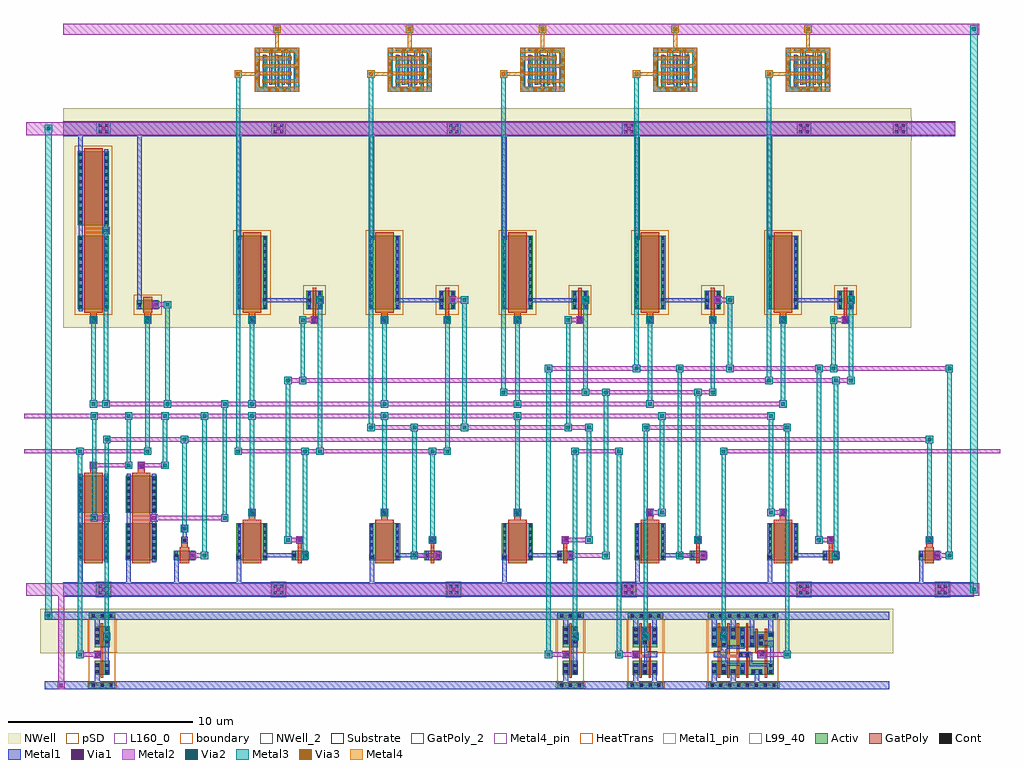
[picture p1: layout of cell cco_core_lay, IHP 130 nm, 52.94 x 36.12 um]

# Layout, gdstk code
import gdstk
lib = gdstk.Library(unit=1e-6, precision=1e-09)
def R(c, l, rs):  # rectangles x0, y0, x1, y1
    for r in rs: c.add(gdstk.rectangle(r[:2], r[2:], *l))
def A(c, l, x, y, w, h, nx, ny, dx, dy):  # array of equal rectangles
    R(c, l, [(x+i*dx, y+j*dy, x+i*dx+w, y+j*dy+h) for i in range(nx) for j in range(ny)])
def P(c, l, *ps):  # polygons
    for p in ps: c.add(gdstk.Polygon(p, *l))
Activ = (1, 0)
GatPoly = (5, 0)
GatPoly_2 = (5, 2)
Cont = (6, 0)
Metal1 = (8, 0)
Metal1_pin = (8, 2)
Metal2 = (10, 0)
pSD = (14, 0)
Via1 = (19, 0)
Via2 = (29, 0)
Metal3 = (30, 0)
NWell = (31, 0)
NWell_2 = (31, 2)
Substrate = (40, 0)
Via3 = (49, 0)
Metal4 = (50, 0)
Metal4_pin = (50, 2)
HeatTrans = (51, 0)
L99_40 = (99, 40)
L160_0 = (160, 0)
boundary = (189, 4)

nmos_5 = lib.new_cell('nmos$5')
R(nmos_5, Activ, [(0,0,0.3,0.3), (0,0,1.68,2), (1.38,0,1.68,0.3)])
R(nmos_5, GatPoly, [(0.34,-0.18,1.34,2.18)])
R(nmos_5, GatPoly_2, [(0.34,-0.18,1.34,2.18)])
A(nmos_5, Cont, 0.07, 0.07, 0.16, 0.16, 1, 6, 0, 0.34)
A(nmos_5, Cont, 1.45, 0.07, 0.16, 0.16, 1, 6, 0, 0.34)
R(nmos_5, Metal1, [(0.07,0,0.23,2), (1.45,0,1.61,2)])
R(nmos_5, Metal1_pin, [(0.07,0,0.23,2), (1.45,0,1.61,2)])
R(nmos_5, HeatTrans, [(0.34,-0.18,1.34,2.18)])
nmos_5.add(gdstk.Label('nmos', (0.84,1), layer=63, texttype=0))
nmos_5.add(gdstk.Label('nmos', (0.84,1), layer=51, texttype=0))

nmos_6 = lib.new_cell('nmos$6')
R(nmos_6, Activ, [(0,0,0.3,0.3), (0,0,1.18,0.5), (0.88,0,1.18,0.3)])
R(nmos_6, GatPoly, [(0.34,-0.18,0.84,0.68)])
R(nmos_6, GatPoly_2, [(0.34,-0.18,0.84,0.68)])
R(nmos_6, Cont, [(0.07,0.17,0.23,0.33), (0.95,0.17,1.11,0.33)])
R(nmos_6, Metal1, [(0.07,0,0.23,0.5), (0.95,0,1.11,0.5)])
R(nmos_6, Metal1_pin, [(0.07,0,0.23,0.5), (0.95,0,1.11,0.5)])
R(nmos_6, HeatTrans, [(0.34,-0.18,0.84,0.68)])
nmos_6.add(gdstk.Label('nmos', (0.59,0.25), layer=63, texttype=0))
nmos_6.add(gdstk.Label('nmos', (0.59,0.25), layer=51, texttype=0))

pmos_8 = lib.new_cell('pmos$8')
R(pmos_8, Activ, [(0,0,0.3,0.3), (0,0,1.68,4), (1.38,0,1.68,0.3)])
R(pmos_8, GatPoly, [(0.34,-0.18,1.34,4.18), (0.34,-0.18,1.34,4.18)])
A(pmos_8, Cont, 0.07, 0.07, 0.16, 0.16, 1, 11, 0, 0.37)
A(pmos_8, Cont, 1.45, 0.07, 0.16, 0.16, 1, 11, 0, 0.37)
R(pmos_8, Metal1, [(0.07,0,0.23,4), (0.07,0,0.23,4), (1.45,0,1.61,4), (1.45,0,1.61,4)])
R(pmos_8, pSD, [(-0.18,-0.3,1.86,4.3)])
R(pmos_8, NWell, [(-0.31,-0.31,1.99,4.31)])
R(pmos_8, HeatTrans, [(0.34,-0.18,1.34,4.18)])
pmos_8.add(gdstk.Label('pmos', (0.84,2), layer=63, texttype=0))
pmos_8.add(gdstk.Label('pmos', (0.84,2), layer=51, texttype=0))

pmos_2 = lib.new_cell('pmos$2')
R(pmos_2, Activ, [(0,0,0.3,0.3), (0,0,1.18,0.5), (0.88,0,1.18,0.3)])
R(pmos_2, GatPoly, [(0.34,-0.18,0.84,0.68), (0.34,-0.18,0.84,0.68)])
R(pmos_2, Cont, [(0.07,0.17,0.23,0.33), (0.95,0.17,1.11,0.33)])
R(pmos_2, Metal1, [(0.07,0,0.23,0.5), (0.07,0,0.23,0.5), (0.95,0,1.11,0.5), (0.95,0,1.11,0.5)])
R(pmos_2, pSD, [(-0.18,-0.3,1.36,0.8)])
R(pmos_2, NWell, [(-0.31,-0.31,1.49,0.81)])
R(pmos_2, HeatTrans, [(0.34,-0.18,0.84,0.68)])
pmos_2.add(gdstk.Label('pmos', (0.59,0.25), layer=63, texttype=0))
pmos_2.add(gdstk.Label('pmos', (0.59,0.25), layer=51, texttype=0))

nmos_7 = lib.new_cell('nmos$7')
R(nmos_7, Activ, [(0,0,0.3,0.3), (0,0,0.88,0.5), (0.58,0,0.88,0.3)])
R(nmos_7, GatPoly, [(0.34,-0.18,0.54,0.68)])
R(nmos_7, GatPoly_2, [(0.34,-0.18,0.54,0.68)])
R(nmos_7, Cont, [(0.07,0.17,0.23,0.33), (0.65,0.17,0.81,0.33)])
R(nmos_7, Metal1, [(0.07,0,0.23,0.5), (0.65,0,0.81,0.5)])
R(nmos_7, Metal1_pin, [(0.07,0,0.23,0.5), (0.65,0,0.81,0.5)])
R(nmos_7, HeatTrans, [(0.34,-0.18,0.54,0.68)])
nmos_7.add(gdstk.Label('nmos', (0.44,0.25), layer=63, texttype=0))
nmos_7.add(gdstk.Label('nmos', (0.44,0.25), layer=51, texttype=0))

pmos_5 = lib.new_cell('pmos$5')
R(pmos_5, Activ, [(0,0,0.3,0.3), (0,0,0.88,1), (0.58,0,0.88,0.3)])
R(pmos_5, GatPoly, [(0.34,-0.18,0.54,1.18), (0.34,-0.18,0.54,1.18)])
A(pmos_5, Cont, 0.07, 0.07, 0.16, 0.16, 1, 3, 0, 0.35)
A(pmos_5, Cont, 0.65, 0.07, 0.16, 0.16, 1, 3, 0, 0.35)
R(pmos_5, Metal1, [(0.07,0,0.23,1), (0.07,0,0.23,1), (0.65,0,0.81,1), (0.65,0,0.81,1)])
R(pmos_5, pSD, [(-0.18,-0.3,1.06,1.3)])
R(pmos_5, NWell, [(-0.31,-0.31,1.19,1.31)])
R(pmos_5, HeatTrans, [(0.34,-0.18,0.54,1.18)])
pmos_5.add(gdstk.Label('pmos', (0.44,0.5), layer=63, texttype=0))
pmos_5.add(gdstk.Label('pmos', (0.44,0.5), layer=51, texttype=0))

cap_cmomf = lib.new_cell('cap_cmomf')
A(cap_cmomf, Metal1, 0.44, 0, 0.16, 2.01, 3, 1, 0.68, 0)
R(cap_cmomf, Metal1, [(0,0,0.26,2.4), (0,0,1.96,0.21), (2.14,0,2.4,2.4), (0.78,0.39,0.94,2.4), (1.46,0.39,1.62,2.4), (0.44,2.19,2.4,2.4)])
R(cap_cmomf, Metal2, [(0,0,2.4,0.275), (0,0,0.205,1.915), (0.42,0.485,2.4,0.685), (2.195,0.485,2.4,2.4), (0,0.895,1.98,1.095), (0.42,1.305,2.4,1.505), (0,1.715,1.98,1.915), (0,2.125,2.4,2.4)])
A(cap_cmomf, Via1, 0.695, 0.01, 0.19, 0.19, 3, 1, 0.41, 0)
A(cap_cmomf, Via1, 0.01, 0.595, 0.19, 0.19, 1, 3, 0, 0.41)
A(cap_cmomf, Via1, 2.2, 0.795, 0.19, 0.19, 1, 3, 0, 0.41)
A(cap_cmomf, Via1, 0.795, 2.2, 0.19, 0.19, 3, 1, 0.41, 0)
A(cap_cmomf, Via2, 0.695, 0.005, 0.19, 0.19, 3, 1, 0.41, 0)
A(cap_cmomf, Via2, 0.005, 0.595, 0.19, 0.19, 1, 3, 0, 0.41)
A(cap_cmomf, Via2, 2.205, 0.795, 0.19, 0.19, 1, 3, 0, 0.41)
A(cap_cmomf, Via2, 0.795, 2.205, 0.19, 0.19, 3, 1, 0.41, 0)
R(cap_cmomf, Metal3, [(0,0,0.275,2.4), (0,0,1.915,0.2), (0.485,0,0.685,1.99), (1.305,0,1.505,1.99), (2.125,0,2.4,2.4), (0.895,0.41,1.095,2.4), (1.715,0.41,1.915,2.4), (0.485,2.2,2.4,2.4)])
A(cap_cmomf, Via3, 0.695, 0.005, 0.19, 0.19, 3, 1, 0.41, 0)
A(cap_cmomf, Via3, 0.005, 0.595, 0.19, 0.19, 1, 3, 0, 0.41)
A(cap_cmomf, Via3, 2.205, 0.795, 0.19, 0.19, 1, 3, 0, 0.41)
A(cap_cmomf, Via3, 0.795, 2.205, 0.19, 0.19, 3, 1, 0.41, 0)
R(cap_cmomf, Metal4, [(0,0,2.4,0.275), (0,0,0.2,1.915), (0.41,0.485,2.4,0.685), (2.2,0.485,2.4,2.4), (0,0.895,1.99,1.095), (0.41,1.305,2.4,1.505), (0,1.715,1.99,1.915), (0,2.125,2.4,2.4)])
R(cap_cmomf, Metal4_pin, [(0,0.855,0.2,1.055), (1.1,2.2,1.3,2.4)])
R(cap_cmomf, L99_40, [(0,0,2.4,2.4)])
R(cap_cmomf, L160_0, [(0,0,2.4,2.4)])
cap_cmomf.add(gdstk.Label('cap_cmomf C=7.413fF', (0,-0.5), layer=63, texttype=0))

std_sg13cmos5l_inv_1 = lib.new_cell('std_sg13cmos5l_inv_1')
R(std_sg13cmos5l_inv_1, Activ, [(0,-0.15,1.44,0.15), (0.31,0.59,1.12,1.33), (0.31,2.075,1.12,3.195), (0,3.63,1.44,3.93)])
P(std_sg13cmos5l_inv_1, GatPoly, [(0.65,0.41),(0.65,1.52),(0.31,1.52),(0.31,1.85),(0.65,1.85),(0.65,3.375),(0.78,3.375),(0.78,0.41)])
A(std_sg13cmos5l_inv_1, Cont, 0.38, 2.285, 0.16, 0.16, 1, 3, 0, 0.34)
A(std_sg13cmos5l_inv_1, Cont, 0.89, 2.285, 0.16, 0.16, 1, 3, 0, 0.34)
R(std_sg13cmos5l_inv_1, Cont, [(0.16,-0.08,0.32,0.08), (0.16,-0.08,0.32,0.08), (0.64,-0.08,0.8,0.08), (0.64,-0.08,0.8,0.08), (1.12,-0.08,1.28,0.08), (1.12,-0.08,1.28,0.08), (0.38,0.66,0.54,0.82), (0.89,0.66,1.05,0.82), (0.38,1,0.54,1.16), (0.89,1,1.05,1.16), (0.395,1.605,0.555,1.765), (0.16,3.7,0.32,3.86), (0.16,3.7,0.32,3.86), (0.64,3.7,0.8,3.86), (0.64,3.7,0.8,3.86), (1.12,3.7,1.28,3.86), (1.12,3.7,1.28,3.86)])
R(std_sg13cmos5l_inv_1, Metal1, [(0.855,0.61,1.085,3.175), (0.31,1.52,0.625,1.85)])
P(std_sg13cmos5l_inv_1, Metal1, [(0,-0.22),(0,0.22),(0.33,0.22),(0.33,1.21),(0.59,1.21),(0.59,0.22),(1.44,0.22),(1.44,-0.22)],
  [(0.33,2.235),(0.33,3.56),(0,3.56),(0,4),(1.44,4),(1.44,3.56),(0.59,3.56),(0.59,2.235)])
R(std_sg13cmos5l_inv_1, pSD, [(-0.07,-0.18,1.51,0.18), (-0.07,1.76,1.51,3.6)])
R(std_sg13cmos5l_inv_1, NWell, [(-0.24,1.75,1.68,4.17)])
R(std_sg13cmos5l_inv_1, boundary, [(0,0,1.44,3.78)])

std_sg13cmos5l_inv_2 = lib.new_cell('std_sg13cmos5l_inv_2')
R(std_sg13cmos5l_inv_2, Activ, [(0,-0.15,1.92,0.15), (0.265,0.59,1.585,1.33), (0.265,2.06,1.59,3.18), (0,3.63,1.92,3.93)])
P(std_sg13cmos5l_inv_2, GatPoly, [(0.605,0.41),(0.605,1.52),(0.305,1.52),(0.305,1.85),(0.605,1.85),(0.605,3.36),(0.735,3.36),(0.735,1.67),(1.115,1.67),(1.115,3.36),(1.245,3.36),(1.245,0.41),(1.115,0.41),(1.115,1.52),(0.735,1.52),(0.735,0.41)])
A(std_sg13cmos5l_inv_2, Cont, 0.335, 0.66, 0.16, 0.16, 3, 2, 0.51, 0.34)
A(std_sg13cmos5l_inv_2, Cont, 0.335, 2.27, 0.16, 0.16, 1, 3, 0, 0.34)
A(std_sg13cmos5l_inv_2, Cont, 0.845, 2.27, 0.16, 0.16, 1, 3, 0, 0.34)
A(std_sg13cmos5l_inv_2, Cont, 1.36, 2.27, 0.16, 0.16, 1, 3, 0, 0.34)
R(std_sg13cmos5l_inv_2, Cont, [(0.16,-0.08,0.32,0.08), (0.16,-0.08,0.32,0.08), (0.64,-0.08,0.8,0.08), (0.64,-0.08,0.8,0.08), (1.12,-0.08,1.28,0.08), (1.12,-0.08,1.28,0.08), (1.6,-0.08,1.76,0.08), (1.6,-0.08,1.76,0.08), (0.39,1.605,0.55,1.765), (0.16,3.7,0.32,3.86), (0.16,3.7,0.32,3.86), (0.64,3.7,0.8,3.86), (0.64,3.7,0.8,3.86), (1.12,3.7,1.28,3.86), (1.12,3.7,1.28,3.86), (1.6,3.7,1.76,3.86), (1.6,3.7,1.76,3.86)])
R(std_sg13cmos5l_inv_2, Metal1, [(0.255,1.52,0.635,1.85)])
P(std_sg13cmos5l_inv_2, Metal1, [(0.795,0.61),(0.795,1.21),(0.87,1.21),(0.87,2.22),(0.795,2.22),(0.795,3.18),(1.055,3.18),(1.055,1.85),(1.59,1.85),(1.59,1.52),(1.055,1.52),(1.055,0.61)],
  [(0,-0.22),(0,0.22),(0.285,0.22),(0.285,1.21),(0.545,1.21),(0.545,0.22),(1.305,0.22),(1.305,1.21),(1.565,1.21),(1.565,0.22),(1.92,0.22),(1.92,-0.22)],
  [(0.285,2.22),(0.285,3.56),(0,3.56),(0,4),(1.92,4),(1.92,3.56),(1.57,3.56),(1.57,2.22),(1.31,2.22),(1.31,3.56),(0.545,3.56),(0.545,2.22)])
R(std_sg13cmos5l_inv_2, pSD, [(-0.07,-0.18,1.99,0.18), (-0.07,1.76,1.99,3.6)])
R(std_sg13cmos5l_inv_2, NWell, [(-0.24,1.75,2.16,4.17)])
R(std_sg13cmos5l_inv_2, boundary, [(0,0,1.92,3.78)])

std_sg13cmos5l_buf_4 = lib.new_cell('std_sg13cmos5l_buf_4')
R(std_sg13cmos5l_buf_4, Activ, [(0,-0.15,3.84,0.15), (0.215,0.59,3.575,1.33), (0,3.63,3.84,3.93)])
P(std_sg13cmos5l_buf_4, Activ, [(0.215,2.06),(0.215,3.18),(2.525,3.18),(2.525,2.9),(3.575,2.9),(3.575,2.06)])
P(std_sg13cmos5l_buf_4, GatPoly, [(0.555,0.41),(0.555,3.36),(0.685,3.36),(0.685,1.67),(1.065,1.67),(1.065,3.36),(1.195,3.36),(1.195,1.67),(1.575,1.67),(1.575,3.36),(1.705,3.36),(1.705,1.82),(2.085,1.82),(2.085,3.36),(2.215,3.36),(2.215,1.82),(2.3,1.82),(2.3,1.52),(2.215,1.52),(2.215,0.41),(2.085,0.41),(2.085,1.52),(1.705,1.52),(1.705,0.41),(1.575,0.41),(1.575,1.52),(1.195,1.52),(1.195,0.41),(1.065,0.41),(1.065,1.52),(0.685,1.52),(0.685,0.41)],
  [(3.105,0.41),(3.105,1.57),(2.82,1.57),(2.82,1.75),(2.595,1.75),(2.595,3.08),(2.725,3.08),(2.725,1.9),(3.105,1.9),(3.105,3.08),(3.235,3.08),(3.235,0.41)])
A(std_sg13cmos5l_buf_4, Cont, 0.285, 0.66, 0.16, 0.16, 4, 2, 0.51, 2.29)
A(std_sg13cmos5l_buf_4, Cont, 0.285, 2.54, 0.16, 0.16, 6, 1, 0.51, 0)
R(std_sg13cmos5l_buf_4, Cont, [(0.16,-0.08,0.32,0.08), (0.16,-0.08,0.32,0.08), (0.64,-0.08,0.8,0.08), (0.64,-0.08,0.8,0.08), (1.12,-0.08,1.28,0.08), (1.12,-0.08,1.28,0.08), (1.6,-0.08,1.76,0.08), (1.6,-0.08,1.76,0.08), (2.08,-0.08,2.24,0.08), (2.08,-0.08,2.24,0.08), (2.56,-0.08,2.72,0.08), (2.56,-0.08,2.72,0.08), (3.04,-0.08,3.2,0.08), (3.04,-0.08,3.2,0.08), (3.52,-0.08,3.68,0.08), (3.52,-0.08,3.68,0.08), (2.425,0.66,2.585,0.82), (2.765,0.66,2.925,0.82), (3.345,0.66,3.505,0.82), (0.285,1,0.445,1.16), (0.795,1,0.955,1.16), (1.815,1,1.975,1.16), (3.345,1,3.505,1.16), (1.73,1.59,1.89,1.75), (2.07,1.59,2.23,1.75), (2.905,1.655,3.065,1.815), (0.285,2.13,0.445,2.29), (0.795,2.13,0.955,2.29), (1.815,2.13,1.975,2.29), (2.325,2.13,2.485,2.29), (2.835,2.2,2.995,2.36), (3.345,2.67,3.505,2.83), (0.16,3.7,0.32,3.86), (0.16,3.7,0.32,3.86), (0.64,3.7,0.8,3.86), (0.64,3.7,0.8,3.86), (1.12,3.7,1.28,3.86), (1.12,3.7,1.28,3.86), (1.6,3.7,1.76,3.86), (1.6,3.7,1.76,3.86), (2.08,3.7,2.24,3.86), (2.08,3.7,2.24,3.86), (2.56,3.7,2.72,3.86), (2.56,3.7,2.72,3.86), (3.04,3.7,3.2,3.86), (3.04,3.7,3.2,3.86), (3.52,3.7,3.68,3.86), (3.52,3.7,3.68,3.86)])
R(std_sg13cmos5l_buf_4, Metal1, [(2.7,1.475,3.15,1.885)])
P(std_sg13cmos5l_buf_4, Metal1, [(0,-0.22),(0,0.22),(0.235,0.22),(0.235,1.21),(0.495,1.21),(0.495,0.22),(1.255,0.22),(1.255,0.87),(1.515,0.87),(1.515,0.22),(2.545,0.22),(2.545,0.61),(2.375,0.61),(2.375,0.87),(2.975,0.87),(2.975,0.61),(2.805,0.61),(2.805,0.22),(3.84,0.22),(3.84,-0.22)],
  [(2.275,2.08),(2.275,3.56),(1.515,3.56),(1.515,2.49),(1.255,2.49),(1.255,3.56),(0.495,3.56),(0.495,2.115),(0.235,2.115),(0.235,3.56),(0,3.56),(0,4),(3.84,4),(3.84,3.56),(3.555,3.56),(3.555,2.64),(3.295,2.64),(3.295,3.56),(2.535,3.56),(2.535,2.08)],
  [(3.245,0.64),(3.245,1.05),(2.265,1.05),(2.265,1.54),(1.68,1.54),(1.68,1.8),(2.43,1.8),(2.43,1.21),(3.4,1.21),(3.4,2.15),(2.785,2.15),(2.785,2.77),(3.045,2.77),(3.045,2.42),(3.59,2.42),(3.59,0.64)],
  [(0.745,0.605),(0.745,1.525),(0.32,1.525),(0.32,1.84),(0.745,1.84),(0.745,3.13),(1.005,3.13),(1.005,2.165),(1.765,2.165),(1.765,3.13),(2.025,3.13),(2.025,1.995),(1.005,1.995),(1.005,1.225),(2.025,1.225),(2.025,0.645),(1.765,0.645),(1.765,1.065),(1.005,1.065),(1.005,0.605)])
R(std_sg13cmos5l_buf_4, pSD, [(-0.07,-0.18,3.91,0.18), (-0.07,1.76,3.91,3.6)])
R(std_sg13cmos5l_buf_4, NWell, [(-0.24,1.75,4.08,4.17)])
R(std_sg13cmos5l_buf_4, boundary, [(0,0,3.84,3.78)])

ntap1 = lib.new_cell('ntap1')
R(ntap1, Activ, [(0,0,0.78,0.78)])
R(ntap1, Cont, [(0.14,0.14,0.3,0.3), (0.48,0.14,0.64,0.3), (0.14,0.48,0.3,0.64), (0.48,0.48,0.64,0.64)])
R(ntap1, Metal1, [(0.14,0.09,0.64,0.69)])
R(ntap1, Metal1_pin, [(0.14,0.09,0.64,0.69), (0.14,0.14,0.64,0.64)])
R(ntap1, NWell, [(-0.24,-0.24,1.02,1.02), (0,0,0.78,0.78)])
R(ntap1, NWell_2, [(0,0,0.78,0.78)])
ntap1.add(gdstk.Label('well', (0.39,0.01), layer=63, texttype=0))
ntap1.add(gdstk.Label('well', (0.39,0.01), layer=31, texttype=0))

ptap1 = lib.new_cell('ptap1')
R(ptap1, Activ, [(0,0,0.78,0.78)])
R(ptap1, Cont, [(0.14,0.14,0.3,0.3), (0.48,0.14,0.64,0.3), (0.14,0.48,0.3,0.64), (0.48,0.48,0.64,0.64)])
R(ptap1, Metal1, [(0.14,0.09,0.64,0.69), (0.14,0.14,0.64,0.64)])
R(ptap1, Metal1_pin, [(0.14,0.14,0.64,0.64)])
R(ptap1, pSD, [(-0.03,-0.03,0.81,0.81)])
R(ptap1, Substrate, [(0,0,0.78,0.78)])
ptap1.add(gdstk.Label('sub!', (0.39,0.01), layer=63, texttype=0))
ptap1.add(gdstk.Label('sub!', (0.39,0.01), layer=40, texttype=0))

cco_core_lay = lib.new_cell('cco_core_lay')
A(cco_core_lay, GatPoly, 13.94, 9.03, 0.2, 0.45, 5, 1, 7.2, 0)
A(cco_core_lay, GatPoly, 13.86, 9.3, 0.36, 0.36, 5, 1, 7.2, 0)
A(cco_core_lay, GatPoly, 11.26, 10.53, 0.36, 0.45, 5, 2, 7.2, 10.89)
A(cco_core_lay, GatPoly, 11.26, 10.8, 0.36, 0.36, 5, 1, 7.2, 0)
A(cco_core_lay, GatPoly, 14.74, 21.42, 0.2, 0.45, 5, 1, 7.2, 0)
R(cco_core_lay, GatPoly, [(2.34,8.22,3.34,13.14), (4.94,8.22,5.94,13.14), (7.61,9.03,7.97,9.48), (48.01,9.03,48.37,9.48), (7.61,9.3,7.97,9.66), (48.01,9.3,48.37,9.66), (2.66,13.09,3.02,13.54), (5.26,13.09,5.62,13.54), (2.66,13.36,3.02,13.72), (5.26,13.36,5.62,13.72), (2.66,21.24,3.02,21.6), (5.61,21.24,5.97,21.6), (11.26,21.24,11.62,21.6), (14.66,21.24,15.02,21.6), (18.46,21.24,18.82,21.6), (21.86,21.24,22.22,21.6), (25.66,21.24,26.02,21.6), (29.06,21.24,29.42,21.6), (32.86,21.24,33.22,21.6), (36.26,21.24,36.62,21.6), (40.06,21.24,40.42,21.6), (43.46,21.24,43.82,21.6), (2.66,21.42,3.02,21.87), (5.61,21.42,5.97,21.87), (2.34,21.82,3.34,30.74)])
A(cco_core_lay, Cont, 13.96, 9.4, 0.16, 0.16, 5, 1, 7.2, 0)
A(cco_core_lay, Cont, 11.36, 10.9, 0.16, 0.16, 5, 1, 7.2, 0)
R(cco_core_lay, Cont, [(7.71,9.4,7.87,9.56), (48.11,9.4,48.27,9.56), (2.76,13.46,2.92,13.62), (5.36,13.46,5.52,13.62), (2.76,21.34,2.92,21.5), (5.71,21.34,5.87,21.5), (11.36,21.34,11.52,21.5), (14.76,21.34,14.92,21.5), (18.56,21.34,18.72,21.5), (21.96,21.34,22.12,21.5), (25.76,21.34,25.92,21.5), (29.16,21.34,29.32,21.5), (32.96,21.34,33.12,21.5), (36.36,21.34,36.52,21.5), (40.16,21.34,40.32,21.5), (43.56,21.34,43.72,21.5)])
A(cco_core_lay, Metal1, 3.23, 6.64, 0.32, 0.32, 5, 2, 9.5, 25)
A(cco_core_lay, Metal1, 2.03, 6.68, 0.24, 2, 3, 1, 2.6, 0)
A(cco_core_lay, Metal1, 10.63, 6.68, 0.24, 2, 5, 1, 7.2, 0)
A(cco_core_lay, Metal1, 14.21, 8.46, 0.24, 0.38, 5, 1, 7.2, 0)
A(cco_core_lay, Metal1, 12.02, 8.54, 1.84, 0.22, 5, 1, 7.2, 0)
A(cco_core_lay, Metal1, 15.01, 22.31, 0.24, 0.38, 5, 1, 7.2, 0)
A(cco_core_lay, Metal1, 12.02, 22.39, 2.64, 0.22, 5, 1, 7.2, 0)
A(cco_core_lay, Metal1, 10.63, 25.78, 0.24, 6.14, 5, 1, 7.2, 0)
R(cco_core_lay, Metal1, [(0.2,1.38,46,1.82), (0.94,1.44,1.26,1.76), (38.925,3.12,39.245,3.44), (2.96,3.135,3.18,3.435), (28.36,3.135,28.58,3.435), (32.135,3.175,32.435,3.395), (3.46,4.1,3.68,4.4), (28.86,4.1,29.08,4.4), (32.69,4.1,32.91,4.4), (36.925,4.1,37.145,4.4), (0.2,5.16,46,5.6), (0.24,5.22,0.56,5.54), (1.2,6.4,50.6,7.2), (48.73,6.64,49.05,6.96), (47.63,6.68,47.87,8.68), (2.04,8.29,2.26,13.07), (3.42,8.29,3.64,13.07), (4.64,8.29,4.86,13.07), (6.02,8.29,6.24,13.07), (8.07,8.49,8.39,8.81), (48.47,8.49,48.79,8.81), (7.63,9.32,7.95,9.64), (13.88,9.32,14.2,9.64), (13.88,9.32,14.2,9.64), (21.08,9.32,21.4,9.64), (21.08,9.32,21.4,9.64), (28.28,9.32,28.6,9.64), (28.28,9.32,28.6,9.64), (35.48,9.32,35.8,9.64), (35.48,9.32,35.8,9.64), (42.68,9.32,43,9.64), (42.68,9.32,43,9.64), (48.03,9.32,48.35,9.64), (48.03,9.32,48.35,9.64), (7.68,9.37,7.9,10.23), (7.63,9.96,7.95,10.28), (3.37,10.52,3.69,10.84), (5.97,10.52,6.29,10.84), (11.28,10.82,11.6,11.14), (11.28,10.82,11.6,11.14), (18.48,10.82,18.8,11.14), (18.48,10.82,18.8,11.14), (25.68,10.82,26,11.14), (25.68,10.82,26,11.14), (32.88,10.82,33.2,11.14), (32.88,10.82,33.2,11.14), (40.08,10.82,40.4,11.14), (40.08,10.82,40.4,11.14), (2.68,13.38,3,13.7), (2.68,13.38,3,13.7), (5.28,13.38,5.6,13.7), (5.28,13.38,5.6,13.7), (2.68,21.26,3,21.58), (2.68,21.26,3,21.58), (5.63,21.26,5.95,21.58), (5.63,21.26,5.95,21.58), (11.28,21.26,11.6,21.58), (11.28,21.26,11.6,21.58), (14.68,21.26,15,21.58), (14.68,21.26,15,21.58), (18.48,21.26,18.8,21.58), (18.48,21.26,18.8,21.58), (21.88,21.26,22.2,21.58), (21.88,21.26,22.2,21.58), (25.68,21.26,26,21.58), (25.68,21.26,26,21.58), (29.08,21.26,29.4,21.58), (29.08,21.26,29.4,21.58), (32.88,21.26,33.2,21.58), (32.88,21.26,33.2,21.58), (36.28,21.26,36.6,21.58), (36.28,21.26,36.6,21.58), (40.08,21.26,40.4,21.58), (40.08,21.26,40.4,21.58), (43.48,21.26,43.8,21.58), (43.48,21.26,43.8,21.58), (2.04,21.89,2.26,30.67), (3.42,21.89,3.64,30.67), (6.07,22.09,6.39,22.41), (5.23,22.28,5.47,31.92), (3.37,26.12,3.69,26.44), (2.03,30.34,2.27,31.92), (1.2,31.4,49.6,32.2), (46.43,31.64,46.75,31.96)])
A(cco_core_lay, Metal2, 3.19, 6.6, 0.4, 0.4, 5, 2, 9.5, 25)
A(cco_core_lay, Metal2, 11.24, 16.02, 0.4, 0.4, 3, 1, 7.2, 0)
A(cco_core_lay, Metal2, 11.24, 16.66, 0.4, 0.4, 5, 1, 7.2, 0)
A(cco_core_lay, Metal2, 14.08, 21.3, 0.88, 0.24, 3, 1, 14.4, 0)
A(cco_core_lay, Metal2, 12.6, 37, 0.4, 0.4, 5, 1, 7.2, 0)
R(cco_core_lay, Metal2, [(0.9,1.4,1.3,1.8), (0.925,1.425,1.275,6.975), (38.885,3.08,39.285,3.48), (40.28,3.08,40.68,3.48), (1.92,3.085,2.32,3.485), (2.87,3.085,3.27,3.485), (27.32,3.085,27.72,3.485), (28.27,3.085,28.67,3.485), (31.16,3.085,31.56,3.485), (32.085,3.085,32.485,3.485), (38.965,3.16,40.6,3.4), (2,3.165,3.19,3.405), (27.4,3.165,28.59,3.405), (31.24,3.165,32.405,3.405), (3.37,4.05,3.77,4.45), (3.37,4.05,3.77,4.45), (28.77,4.05,29.17,4.45), (28.77,4.05,29.17,4.45), (32.6,4.05,33,4.45), (32.6,4.05,33,4.45), (36.835,4.05,37.235,4.45), (36.835,4.05,37.235,4.45), (0.2,5.18,0.6,5.58), (0.2,5.18,0.6,5.58), (-0.8,6.45,50.9,7.15), (48.69,6.6,49.09,7), (50.4,6.6,50.8,7), (8.03,8.45,8.43,8.85), (8.67,8.45,9.07,8.85), (14.13,8.45,14.53,8.85), (14.13,8.45,14.53,8.85), (20.05,8.45,20.45,8.85), (21.33,8.45,21.73,8.85), (28.53,8.45,28.93,8.85), (30.45,8.45,30.85,8.85), (34.45,8.45,34.85,8.85), (35.73,8.45,36.13,8.85), (42.93,8.45,43.33,8.85), (42.93,8.45,43.33,8.85), (48.43,8.45,48.83,8.85), (49.07,8.45,49.47,8.85), (8.11,8.53,8.99,8.77), (20.13,8.53,21.65,8.77), (28.61,8.53,30.77,8.77), (34.53,8.53,36.05,8.77), (48.51,8.53,49.39,8.77), (13.2,9.28,13.6,9.68), (13.84,9.28,14.24,9.68), (21.04,9.28,21.44,9.68), (21.04,9.28,21.44,9.68), (28.24,9.28,28.64,9.68), (29.52,9.28,29.92,9.68), (35.44,9.28,35.84,9.68), (35.44,9.28,35.84,9.68), (42,9.28,42.4,9.68), (42.64,9.28,43.04,9.68), (47.99,9.28,48.39,9.68), (47.99,9.28,48.39,9.68), (13.28,9.36,14.16,9.6), (28.32,9.36,29.84,9.6), (42.08,9.36,42.96,9.6), (7.59,9.92,7.99,10.32), (7.59,9.92,7.99,10.32), (2.69,10.48,3.09,10.88), (3.33,10.48,3.73,10.88), (5.93,10.48,6.33,10.88), (9.77,10.48,10.17,10.88), (2.77,10.56,3.65,10.8), (6.01,10.56,10.09,10.8), (11.24,10.78,11.64,11.18), (11.24,10.78,11.64,11.18), (18.44,10.78,18.84,11.18), (18.44,10.78,18.84,11.18), (25.64,10.78,26.04,11.18), (25.64,10.78,26.04,11.18), (32.84,10.78,33.24,11.18), (33.48,10.78,33.88,11.18), (39.4,10.78,39.8,11.18), (40.04,10.78,40.44,11.18), (32.92,10.86,33.8,11.1), (39.48,10.86,40.36,11.1), (2.64,13.34,3.04,13.74), (4.56,13.34,4.96,13.74), (5.24,13.34,5.64,13.74), (6.52,13.34,6.92,13.74), (2.72,13.42,4.88,13.66), (5.32,13.42,6.84,13.66), (1.92,14.1,2.32,14.5), (5.59,14.1,5.99,14.5), (10.5,14.1,10.9,14.5), (14.13,14.1,14.53,14.5), (14.93,14.1,15.33,14.5), (21.04,14.1,21.44,14.5), (21.84,14.1,22.24,14.5), (28.77,14.1,29.17,14.5), (31.16,14.1,31.56,14.5), (36.835,14.1,37.235,14.5), (-0.92,14.18,5.91,14.42), (10.58,14.18,22.16,14.42), (28.85,14.18,31.48,14.42), (36.915,14.18,52.02,14.42), (3.37,14.74,3.77,15.14), (7.59,14.74,7.99,15.14), (47.99,14.74,48.39,15.14), (3.45,14.82,48.31,15.06), (17.7,15.38,18.1,15.78), (20.05,15.38,20.45,15.78), (22.77,15.38,23.17,15.78), (28.4,15.38,28.8,15.78), (29.52,15.38,29.92,15.78), (32.605,15.38,33.005,15.78), (40.28,15.38,40.68,15.78), (17.78,15.46,29.84,15.7), (32.685,15.46,40.6,15.7), (2.69,16.02,3.09,16.42), (4.56,16.02,4.96,16.42), (6.52,16.02,6.92,16.42), (8.67,16.02,9.07,16.42), (33.48,16.02,33.88,16.42), (39.4,16.02,39.8,16.42), (-0.92,16.1,39.72,16.34), (2.64,16.66,3.04,17.06), (3.33,16.66,3.73,17.06), (6.67,16.66,7.07,17.06), (9.77,16.66,10.17,17.06), (2.72,16.74,40.36,16.98), (24.9,17.3,25.3,17.7), (29.33,17.3,29.73,17.7), (30.45,17.3,30.85,17.7), (35.44,17.3,35.84,17.7), (36.24,17.3,36.64,17.7), (24.98,17.38,36.56,17.62), (13.2,17.94,13.6,18.34), (14,17.94,14.4,18.34), (39.3,17.94,39.7,18.34), (42.93,17.94,43.33,18.34), (43.73,17.94,44.13,18.34), (13.28,18.02,44.05,18.26), (27.32,18.58,27.72,18.98), (32.1,18.58,32.5,18.98), (34.45,18.58,34.85,18.98), (37.17,18.58,37.57,18.98), (42,18.58,42.4,18.98), (42.8,18.58,43.2,18.98), (49.07,18.58,49.47,18.98), (27.4,18.66,49.39,18.9), (2.64,21.22,3.04,21.62), (2.64,21.22,3.04,21.62), (5.59,21.22,5.99,21.62), (5.59,21.22,5.99,21.62), (11.24,21.22,11.64,21.62), (11.24,21.22,11.64,21.62), (14,21.22,14.4,21.62), (14.64,21.22,15.04,21.62), (18.44,21.22,18.84,21.62), (18.44,21.22,18.84,21.62), (21.84,21.22,22.24,21.62), (21.84,21.22,22.24,21.62), (25.64,21.22,26.04,21.62), (25.64,21.22,26.04,21.62), (28.4,21.22,28.8,21.62), (29.04,21.22,29.44,21.62), (32.84,21.22,33.24,21.62), (32.84,21.22,33.24,21.62), (36.24,21.22,36.64,21.62), (36.24,21.22,36.64,21.62), (40.04,21.22,40.44,21.62), (40.04,21.22,40.44,21.62), (42.8,21.22,43.2,21.62), (43.44,21.22,43.84,21.62), (6.03,22.05,6.43,22.45), (6.67,22.05,7.07,22.45), (6.11,22.13,6.99,22.37), (14.93,22.3,15.33,22.7), (14.93,22.3,15.33,22.7), (22.13,22.3,22.53,22.7), (22.77,22.3,23.17,22.7), (29.33,22.3,29.73,22.7), (29.33,22.3,29.73,22.7), (36.53,22.3,36.93,22.7), (37.17,22.3,37.57,22.7), (43.73,22.3,44.13,22.7), (43.73,22.3,44.13,22.7), (22.21,22.38,23.09,22.62), (36.61,22.38,37.49,22.62), (3.33,26.08,3.73,26.48), (3.33,26.08,3.73,26.48), (-0.8,31.45,49.6,32.15), (0.2,31.6,0.6,32), (46.39,31.6,46.79,32), (1.2,36.9,50.9,37.5), (50.4,37,50.8,37.4)])
A(cco_core_lay, Via1, 3.295, 6.705, 0.19, 0.19, 5, 2, 9.5, 25)
A(cco_core_lay, Via1, 14.235, 8.555, 0.19, 0.19, 5, 1, 7.2, 0)
A(cco_core_lay, Via1, 13.945, 9.385, 0.19, 0.19, 5, 1, 7.2, 0)
A(cco_core_lay, Via1, 11.345, 10.885, 0.19, 0.19, 5, 1, 7.2, 0)
A(cco_core_lay, Via1, 15.035, 22.405, 0.19, 0.19, 5, 1, 7.2, 0)
R(cco_core_lay, Via1, [(1.005,1.505,1.195,1.695), (38.99,3.185,39.18,3.375), (2.975,3.19,3.165,3.38), (28.375,3.19,28.565,3.38), (32.19,3.19,32.38,3.38), (3.475,4.155,3.665,4.345), (28.875,4.155,29.065,4.345), (32.705,4.155,32.895,4.345), (36.94,4.155,37.13,4.345), (0.305,5.285,0.495,5.475), (48.795,6.705,48.985,6.895), (8.135,8.555,8.325,8.745), (48.535,8.555,48.725,8.745), (48.095,9.385,48.285,9.575), (7.695,10.025,7.885,10.215), (3.435,10.585,3.625,10.775), (6.035,10.585,6.225,10.775), (2.745,13.445,2.935,13.635), (5.345,13.445,5.535,13.635), (2.745,21.325,2.935,21.515), (5.695,21.325,5.885,21.515), (11.345,21.325,11.535,21.515), (14.745,21.325,14.935,21.515), (18.545,21.325,18.735,21.515), (21.945,21.325,22.135,21.515), (25.745,21.325,25.935,21.515), (29.145,21.325,29.335,21.515), (32.945,21.325,33.135,21.515), (36.345,21.325,36.535,21.515), (40.145,21.325,40.335,21.515), (43.545,21.325,43.735,21.515), (6.135,22.155,6.325,22.345), (3.435,26.185,3.625,26.375), (46.495,31.705,46.685,31.895)])
A(cco_core_lay, Via2, 11.345, 10.885, 0.19, 0.19, 3, 2, 7.2, 5.24)
A(cco_core_lay, Via2, 11.345, 16.765, 0.19, 0.19, 5, 1, 7.2, 0)
A(cco_core_lay, Via2, 12.705, 37.105, 0.19, 0.19, 5, 1, 7.2, 0)
R(cco_core_lay, Via2, [(40.385,3.185,40.575,3.375), (2.025,3.19,2.215,3.38), (27.425,3.19,27.615,3.38), (31.265,3.19,31.455,3.38), (3.475,4.155,3.665,4.345), (28.875,4.155,29.065,4.345), (32.705,4.155,32.895,4.345), (36.94,4.155,37.13,4.345), (0.305,5.285,0.495,5.475), (50.505,6.705,50.695,6.895), (8.775,8.555,8.965,8.745), (14.235,8.555,14.425,8.745), (20.155,8.555,20.345,8.745), (30.555,8.555,30.745,8.745), (34.555,8.555,34.745,8.745), (43.035,8.555,43.225,8.745), (49.175,8.555,49.365,8.745), (13.305,9.385,13.495,9.575), (21.145,9.385,21.335,9.575), (29.625,9.385,29.815,9.575), (35.545,9.385,35.735,9.575), (42.105,9.385,42.295,9.575), (48.095,9.385,48.285,9.575), (7.695,10.025,7.885,10.215), (2.795,10.585,2.985,10.775), (9.875,10.585,10.065,10.775), (33.585,10.885,33.775,11.075), (39.505,10.885,39.695,11.075), (4.665,13.445,4.855,13.635), (6.625,13.445,6.815,13.635), (2.025,14.205,2.215,14.395), (5.695,14.205,5.885,14.395), (10.605,14.205,10.795,14.395), (14.235,14.205,14.425,14.395), (15.035,14.205,15.225,14.395), (21.145,14.205,21.335,14.395), (21.945,14.205,22.135,14.395), (28.875,14.205,29.065,14.395), (31.265,14.205,31.455,14.395), (36.94,14.205,37.13,14.395), (3.475,14.845,3.665,15.035), (7.695,14.845,7.885,15.035), (48.095,14.845,48.285,15.035), (17.805,15.485,17.995,15.675), (20.155,15.485,20.345,15.675), (22.875,15.485,23.065,15.675), (28.505,15.485,28.695,15.675), (29.625,15.485,29.815,15.675), (32.71,15.485,32.9,15.675), (40.385,15.485,40.575,15.675), (2.795,16.125,2.985,16.315), (4.665,16.125,4.855,16.315), (6.625,16.125,6.815,16.315), (8.775,16.125,8.965,16.315), (33.585,16.125,33.775,16.315), (39.505,16.125,39.695,16.315), (2.745,16.765,2.935,16.955), (3.435,16.765,3.625,16.955), (6.775,16.765,6.965,16.955), (9.875,16.765,10.065,16.955), (25.005,17.405,25.195,17.595), (29.435,17.405,29.625,17.595), (30.555,17.405,30.745,17.595), (35.545,17.405,35.735,17.595), (36.345,17.405,36.535,17.595), (13.305,18.045,13.495,18.235), (14.105,18.045,14.295,18.235), (39.405,18.045,39.595,18.235), (43.035,18.045,43.225,18.235), (43.835,18.045,44.025,18.235), (27.425,18.685,27.615,18.875), (32.205,18.685,32.395,18.875), (34.555,18.685,34.745,18.875), (37.275,18.685,37.465,18.875), (42.105,18.685,42.295,18.875), (42.905,18.685,43.095,18.875), (49.175,18.685,49.365,18.875), (2.745,21.325,2.935,21.515), (5.695,21.325,5.885,21.515), (11.345,21.325,11.535,21.515), (14.105,21.325,14.295,21.515), (18.545,21.325,18.735,21.515), (21.945,21.325,22.135,21.515), (25.745,21.325,25.935,21.515), (28.505,21.325,28.695,21.515), (32.945,21.325,33.135,21.515), (36.345,21.325,36.535,21.515), (40.145,21.325,40.335,21.515), (42.905,21.325,43.095,21.515), (6.775,22.155,6.965,22.345), (15.035,22.405,15.225,22.595), (22.875,22.405,23.065,22.595), (29.435,22.405,29.625,22.595), (37.275,22.405,37.465,22.595), (43.835,22.405,44.025,22.595), (3.435,26.185,3.625,26.375), (0.305,31.705,0.495,31.895), (50.505,37.105,50.695,37.295)])
A(cco_core_lay, Metal3, 11.24, 10.78, 0.4, 0.4, 3, 2, 7.2, 5.24)
A(cco_core_lay, Metal3, 11.32, 10.86, 0.24, 5.48, 3, 1, 7.2, 0)
A(cco_core_lay, Metal3, 11.24, 16.66, 0.4, 0.4, 5, 1, 7.2, 0)
A(cco_core_lay, Metal3, 11.32, 16.74, 0.24, 4.8, 5, 1, 7.2, 0)
A(cco_core_lay, Metal3, 10.5, 34.555, 0.4, 0.4, 5, 1, 7.2, 0)
R(cco_core_lay, Metal3, [(40.28,3.08,40.68,3.48), (1.92,3.085,2.32,3.485), (27.32,3.085,27.72,3.485), (31.16,3.085,31.56,3.485), (40.36,3.16,40.6,15.7), (2,3.165,2.24,14.42), (27.4,3.165,27.64,18.9), (31.24,3.165,31.48,14.42), (3.37,4.05,3.77,4.45), (28.77,4.05,29.17,4.45), (32.6,4.05,33,4.45), (36.835,4.05,37.235,4.45), (3.45,4.13,3.69,15.06), (28.85,4.13,29.09,14.42), (32.685,4.13,32.925,15.7), (36.915,4.13,37.155,14.42), (0.2,5.18,0.6,5.58), (0.225,5.205,0.575,31.975), (50.4,6.6,50.8,37.4), (50.4,6.6,50.8,7), (8.67,8.45,9.07,8.85), (14.13,8.45,14.53,8.85), (20.05,8.45,20.45,8.85), (30.45,8.45,30.85,8.85), (34.45,8.45,34.85,8.85), (42.93,8.45,43.33,8.85), (49.07,8.45,49.47,8.85), (8.75,8.53,8.99,16.34), (14.21,8.53,14.45,14.42), (20.13,8.53,20.37,15.7), (30.53,8.53,30.77,17.62), (34.53,8.53,34.77,18.9), (43.01,8.53,43.25,18.26), (49.15,8.53,49.39,18.9), (13.2,9.28,13.6,9.68), (21.04,9.28,21.44,9.68), (29.52,9.28,29.92,9.68), (35.44,9.28,35.84,9.68), (42,9.28,42.4,9.68), (47.99,9.28,48.39,9.68), (13.28,9.36,13.52,18.26), (21.12,9.36,21.36,14.42), (29.6,9.36,29.84,15.7), (35.52,9.36,35.76,17.62), (42.08,9.36,42.32,18.9), (48.07,9.36,48.31,15.06), (7.59,9.92,7.99,10.32), (7.67,10,7.91,15.06), (2.69,10.48,3.09,10.88), (9.77,10.48,10.17,10.88), (2.77,10.56,3.01,16.34), (9.85,10.56,10.09,16.98), (33.48,10.78,33.88,11.18), (39.4,10.78,39.8,11.18), (33.56,10.86,33.8,16.34), (39.48,10.86,39.72,16.34), (4.56,13.34,4.96,13.74), (6.52,13.34,6.92,13.74), (4.64,13.42,4.88,16.34), (6.6,13.42,6.84,16.34), (1.92,14.1,2.32,14.5), (5.59,14.1,5.99,14.5), (10.5,14.1,10.9,14.5), (14.13,14.1,14.53,14.5), (14.93,14.1,15.33,14.5), (21.04,14.1,21.44,14.5), (21.84,14.1,22.24,14.5), (28.77,14.1,29.17,14.5), (31.16,14.1,31.56,14.5), (36.835,14.1,37.235,14.5), (5.67,14.18,5.91,21.54), (10.58,14.18,10.82,34.875), (15.01,14.18,15.25,22.62), (21.92,14.18,22.16,21.54), (3.37,14.74,3.77,15.14), (7.59,14.74,7.99,15.14), (47.99,14.74,48.39,15.14), (17.7,15.38,18.1,15.78), (20.05,15.38,20.45,15.78), (22.77,15.38,23.17,15.78), (28.4,15.38,28.8,15.78), (29.52,15.38,29.92,15.78), (32.605,15.38,33.005,15.78), (40.28,15.38,40.68,15.78), (17.78,15.46,18.02,34.875), (22.85,15.46,23.09,22.62), (28.48,15.46,28.72,21.54), (2.69,16.02,3.09,16.42), (4.56,16.02,4.96,16.42), (6.52,16.02,6.92,16.42), (8.67,16.02,9.07,16.42), (33.48,16.02,33.88,16.42), (39.4,16.02,39.8,16.42), (2.64,16.66,3.04,17.06), (3.33,16.66,3.73,17.06), (6.67,16.66,7.07,17.06), (9.77,16.66,10.17,17.06), (2.72,16.74,2.96,21.54), (3.41,16.74,3.65,26.4), (6.75,16.74,6.99,22.37), (24.9,17.3,25.3,17.7), (29.33,17.3,29.73,17.7), (30.45,17.3,30.85,17.7), (35.44,17.3,35.84,17.7), (36.24,17.3,36.64,17.7), (24.98,17.38,25.22,34.875), (29.41,17.38,29.65,22.62), (36.32,17.38,36.56,21.54), (13.2,17.94,13.6,18.34), (14,17.94,14.4,18.34), (39.3,17.94,39.7,18.34), (42.93,17.94,43.33,18.34), (43.73,17.94,44.13,18.34), (14.08,18.02,14.32,21.54), (39.38,18.02,39.62,34.875), (43.81,18.02,44.05,22.62), (27.32,18.58,27.72,18.98), (32.1,18.58,32.5,18.98), (34.45,18.58,34.85,18.98), (37.17,18.58,37.57,18.98), (42,18.58,42.4,18.98), (42.8,18.58,43.2,18.98), (49.07,18.58,49.47,18.98), (32.18,18.66,32.42,34.875), (37.25,18.66,37.49,22.62), (42.88,18.66,43.12,21.54), (2.64,21.22,3.04,21.62), (5.59,21.22,5.99,21.62), (11.24,21.22,11.64,21.62), (14,21.22,14.4,21.62), (18.44,21.22,18.84,21.62), (21.84,21.22,22.24,21.62), (25.64,21.22,26.04,21.62), (28.4,21.22,28.8,21.62), (32.84,21.22,33.24,21.62), (36.24,21.22,36.64,21.62), (40.04,21.22,40.44,21.62), (42.8,21.22,43.2,21.62), (6.67,22.05,7.07,22.45), (14.93,22.3,15.33,22.7), (22.77,22.3,23.17,22.7), (29.33,22.3,29.73,22.7), (37.17,22.3,37.57,22.7), (43.73,22.3,44.13,22.7), (3.33,26.08,3.73,26.48), (0.2,31.6,0.6,32), (12.6,37,13,37.4), (12.6,37,13,37.4), (19.8,37,20.2,37.4), (19.8,37,20.2,37.4), (27,37,27.4,37.4), (27,37,27.4,37.4), (34.2,37,34.6,37.4), (34.2,37,34.6,37.4), (41.4,37,41.8,37.4), (41.4,37,41.8,37.4), (50.4,37,50.8,37.4)])
R(cco_core_lay, NWell, [(-0.04,3.35,46.24,5.77), (1.2,21,47.2,32.9)])
A(cco_core_lay, Via3, 10.605, 34.66, 0.19, 0.19, 5, 1, 7.2, 0)
A(cco_core_lay, Via3, 12.705, 37.105, 0.19, 0.19, 5, 1, 7.2, 0)
A(cco_core_lay, Metal4, 10.5, 34.555, 0.4, 0.4, 5, 1, 7.2, 0)
A(cco_core_lay, Metal4, 10.6, 34.655, 1.15, 0.2, 5, 1, 7.2, 0)
A(cco_core_lay, Metal4, 12.7, 36.05, 0.2, 1.25, 5, 1, 7.2, 0)
A(cco_core_lay, Metal4, 12.6, 37, 0.4, 0.4, 5, 1, 7.2, 0)
cco_core_lay.add(gdstk.Reference(nmos_5, (2,8.4)))
cco_core_lay.add(gdstk.Reference(nmos_5, (2,10.96)))
cco_core_lay.add(gdstk.Reference(nmos_5, (4.6,8.4)))
cco_core_lay.add(gdstk.Reference(nmos_5, (4.6,10.96)))
cco_core_lay.add(gdstk.Reference(nmos_6, (7.2,8.4)))
cco_core_lay.add(gdstk.Reference(pmos_8, (2,22)))
cco_core_lay.add(gdstk.Reference(pmos_8, (2,26.56)))
cco_core_lay.add(gdstk.Reference(pmos_2, (5.2,22)))
cco_core_lay.add(gdstk.Reference(nmos_5, (10.6,8.4)))
cco_core_lay.add(gdstk.Reference(nmos_7, (13.6,8.4)))
cco_core_lay.add(gdstk.Reference(pmos_8, (10.6,22)))
cco_core_lay.add(gdstk.Reference(pmos_5, (14.4,22)))
cco_core_lay.add(gdstk.Reference(cap_cmomf, (11.6,33.8)))
cco_core_lay.add(gdstk.Reference(nmos_5, (17.8,8.4)))
cco_core_lay.add(gdstk.Reference(nmos_7, (20.8,8.4)))
cco_core_lay.add(gdstk.Reference(pmos_8, (17.8,22)))
cco_core_lay.add(gdstk.Reference(pmos_5, (21.6,22)))
cco_core_lay.add(gdstk.Reference(cap_cmomf, (18.8,33.8)))
cco_core_lay.add(gdstk.Reference(nmos_5, (25,8.4)))
cco_core_lay.add(gdstk.Reference(nmos_7, (28,8.4)))
cco_core_lay.add(gdstk.Reference(pmos_8, (25,22)))
cco_core_lay.add(gdstk.Reference(pmos_5, (28.8,22)))
cco_core_lay.add(gdstk.Reference(cap_cmomf, (26,33.8)))
cco_core_lay.add(gdstk.Reference(nmos_5, (32.2,8.4)))
cco_core_lay.add(gdstk.Reference(nmos_7, (35.2,8.4)))
cco_core_lay.add(gdstk.Reference(pmos_8, (32.2,22)))
cco_core_lay.add(gdstk.Reference(pmos_5, (36,22)))
cco_core_lay.add(gdstk.Reference(cap_cmomf, (33.2,33.8)))
cco_core_lay.add(gdstk.Reference(nmos_5, (39.4,8.4)))
cco_core_lay.add(gdstk.Reference(nmos_7, (42.4,8.4)))
cco_core_lay.add(gdstk.Reference(pmos_8, (39.4,22)))
cco_core_lay.add(gdstk.Reference(pmos_5, (43.2,22)))
cco_core_lay.add(gdstk.Reference(cap_cmomf, (40.4,33.8)))
cco_core_lay.add(gdstk.Reference(nmos_6, (47.6,8.4)))
cco_core_lay.add(gdstk.Reference(std_sg13cmos5l_inv_1, (2.6,1.6)))
cco_core_lay.add(gdstk.Reference(std_sg13cmos5l_inv_1, (28,1.6)))
cco_core_lay.add(gdstk.Reference(std_sg13cmos5l_inv_2, (31.84,1.6)))
cco_core_lay.add(gdstk.Reference(std_sg13cmos5l_buf_4, (36.16,1.6)))
cco_core_lay.add(gdstk.Reference(ntap1, (3,31.41)))
cco_core_lay.add(gdstk.Reference(ntap1, (12.5,31.41)))
cco_core_lay.add(gdstk.Reference(ntap1, (22,31.41)))
cco_core_lay.add(gdstk.Reference(ntap1, (31.5,31.41)))
cco_core_lay.add(gdstk.Reference(ntap1, (41,31.41)))
cco_core_lay.add(gdstk.Reference(ntap1, (46.2,31.41)))
cco_core_lay.add(gdstk.Reference(ptap1, (3,6.41)))
cco_core_lay.add(gdstk.Reference(ptap1, (12.5,6.41)))
cco_core_lay.add(gdstk.Reference(ptap1, (22,6.41)))
cco_core_lay.add(gdstk.Reference(ptap1, (31.5,6.41)))
cco_core_lay.add(gdstk.Reference(ptap1, (41,6.41)))
cco_core_lay.add(gdstk.Reference(ptap1, (48.5,6.41)))

lib.write_gds('cco_core_lay.gds')
